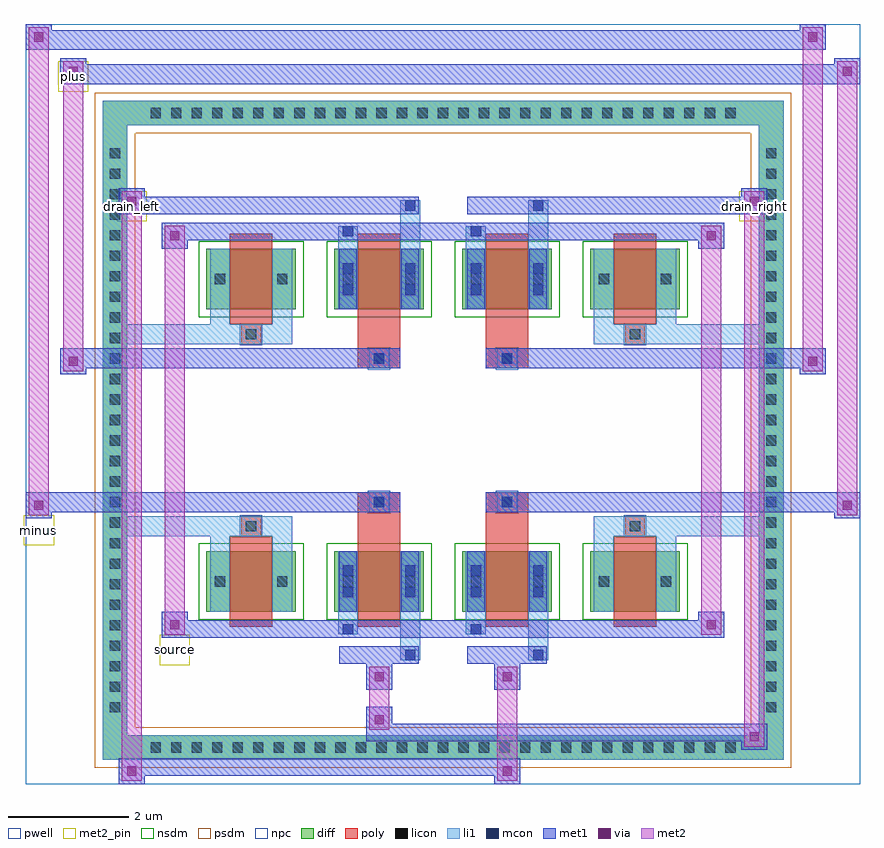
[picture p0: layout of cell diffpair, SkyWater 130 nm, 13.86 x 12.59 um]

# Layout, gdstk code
import gdstk
lib = gdstk.Library(unit=1e-6, precision=5e-09)
def R(c, l, rs):  # rectangles x0, y0, x1, y1
    for r in rs: c.add(gdstk.rectangle(r[:2], r[2:], *l))
def A(c, l, x, y, w, h, nx, ny, dx, dy):  # array of equal rectangles
    R(c, l, [(x+i*dx, y+j*dy, x+i*dx+w, y+j*dy+h) for i in range(nx) for j in range(ny)])
def P(c, l, *ps):  # polygons
    for p in ps: c.add(gdstk.Polygon(p, *l))
pwell = (64, 44)
diff = (65, 20)
poly = (66, 20)
licon = (66, 44)
li1 = (67, 20)
mcon = (67, 44)
met1 = (68, 20)
via = (68, 44)
met2_pin = (69, 16)
met2 = (69, 20)
nsdm = (93, 44)
psdm = (94, 20)
npc = (95, 20)

diffpair = lib.new_cell('diffpair')
R(diffpair, pwell, [(-6.91,-5.86,6.91,6.73), (-4.23,-4.05,-0.01,-0.825), (0.01,-4.05,4.23,-0.825), (-4.23,0.825,-0.01,4.05), (0.01,0.825,4.23,4.05)])
A(diffpair, diff, -4.965, -5.46, 0.41, 0.41, 29, 2, 0.34, 10.51)
A(diffpair, diff, -5.64, -4.795, 0.41, 0.41, 1, 28, 0, 0.34)
A(diffpair, diff, 5.23, -4.795, 0.41, 0.41, 1, 28, 0, 0.34)
A(diffpair, diff, -3.92, -3.005, 1.48, 1, 4, 2, 2.12, 5.01)
R(diffpair, diff, [(-4.965,-5.46,4.965,-5.05), (-5.64,-4.795,-5.23,4.795), (5.23,-4.795,5.64,4.795), (-4.965,5.05,4.965,5.46)])
P(diffpair, diff, [(5.64,5.46),(-5.64,5.46),(-5.64,-5.05),(-5.23,-5.05),(-5.23,5.05),(5.23,5.05),(5.23,-5.05),(-5.23,-5.05),(-5.64,-5.05),(-5.64,-5.46),(5.64,-5.46)])
A(diffpair, poly, -3.53, -3.255, 0.7, 1.5, 4, 2, 2.12, 5.01)
R(diffpair, poly, [(-3.345,-1.755,-3.015,-1.425), (-3.345,-1.755,-3.015,-1.425), (-1.41,-1.755,-0.71,-1.355), (0.71,-1.755,1.41,-1.355), (3.015,-1.755,3.345,-1.425), (3.015,-1.755,3.345,-1.425), (-1.41,-1.355,-0.71,-1.025), (-1.225,-1.355,-0.895,-1.025), (0.71,-1.355,1.41,-1.025), (0.895,-1.355,1.225,-1.025), (-1.41,1.025,-0.71,1.355), (-1.225,1.025,-0.895,1.355), (0.71,1.025,1.41,1.355), (0.895,1.025,1.225,1.355), (-1.41,1.355,-0.71,1.755), (0.71,1.355,1.41,1.755), (-3.345,1.425,-3.015,1.755), (-3.345,1.425,-3.015,1.755), (3.015,1.425,3.345,1.755), (3.015,1.425,3.345,1.755)])
A(diffpair, licon, -4.845, -5.34, 0.17, 0.17, 29, 2, 0.34, 10.51)
A(diffpair, licon, -5.52, -4.675, 0.17, 0.17, 1, 28, 0, 0.34)
A(diffpair, licon, 5.35, -4.675, 0.17, 0.17, 1, 28, 0, 0.34)
R(diffpair, licon, [(-3.78,-2.59,-3.61,-2.42), (-2.75,-2.59,-2.58,-2.42), (-1.66,-2.59,-1.49,-2.42), (-0.63,-2.59,-0.46,-2.42), (0.46,-2.59,0.63,-2.42), (1.49,-2.59,1.66,-2.42), (2.58,-2.59,2.75,-2.42), (3.61,-2.59,3.78,-2.42), (-3.265,-1.675,-3.095,-1.505), (3.095,-1.675,3.265,-1.505), (-1.145,-1.275,-0.975,-1.105), (0.975,-1.275,1.145,-1.105), (-1.145,1.105,-0.975,1.275), (0.975,1.105,1.145,1.275), (-3.265,1.505,-3.095,1.675), (3.095,1.505,3.265,1.675), (-3.78,2.42,-3.61,2.59), (-2.75,2.42,-2.58,2.59), (-1.66,2.42,-1.49,2.59), (-0.63,2.42,-0.46,2.59), (0.46,2.42,0.63,2.59), (1.49,2.42,1.66,2.59), (2.58,2.42,2.75,2.59), (3.61,2.42,3.78,2.59)])
A(diffpair, li1, -4.925, -5.42, 0.33, 0.33, 29, 2, 0.34, 10.51)
A(diffpair, li1, -5.6, -4.755, 0.33, 0.33, 1, 28, 0, 0.34)
A(diffpair, li1, 5.27, -4.755, 0.33, 0.33, 1, 28, 0, 0.34)
R(diffpair, li1, [(-5.64,-5.46,-5.23,-5.05), (-5.64,-5.46,-5.23,-5.05), (-5.23,-5.46,5.23,-5.05), (5.23,-5.46,5.64,-5.05), (5.23,-5.46,5.64,-5.05), (-5.64,-5.05,-5.23,5.05), (5.23,-5.05,5.64,5.05), (-0.71,-3.81,-0.38,-3.005), (-0.63,-3.81,-0.46,-3.64), (1.41,-3.81,1.74,-3.005), (1.49,-3.81,1.66,-3.64), (-1.74,-3.38,-1.41,-3.005), (-1.66,-3.38,-1.49,-3.21), (0.38,-3.38,0.71,-3.005), (0.46,-3.38,0.63,-3.21), (-3.86,-3.005,-3.53,-2.005), (-2.83,-3.005,-2.5,-2.005), (-1.74,-3.005,-1.41,-2.005), (-0.71,-3.005,-0.38,-2.005), (0.38,-3.005,0.71,-2.005), (1.41,-3.005,1.74,-2.005), (2.5,-3.005,2.83,-2.005), (3.53,-3.005,3.86,-2.005), (-1.66,-2.77,-1.49,-2.6), (-1.66,-2.77,-1.49,-2.24), (-0.63,-2.77,-0.46,-2.6), (-0.63,-2.77,-0.46,-2.24), (0.46,-2.77,0.63,-2.6), (0.46,-2.77,0.63,-2.24), (1.49,-2.77,1.66,-2.6), (1.49,-2.77,1.66,-2.24), (-3.86,-2.67,-3.53,-2.34), (-2.83,-2.67,-2.5,-2.34), (-1.74,-2.67,-1.41,-2.34), (-0.71,-2.67,-0.38,-2.34), (0.38,-2.67,0.71,-2.34), (1.41,-2.67,1.74,-2.34), (2.5,-2.67,2.83,-2.34), (3.53,-2.67,3.86,-2.34), (-1.66,-2.41,-1.49,-2.24), (-0.63,-2.41,-0.46,-2.24), (0.46,-2.41,0.63,-2.24), (1.49,-2.41,1.66,-2.24), (-3.86,-2.005,-3.53,-1.425), (-2.83,-2.005,-2.5,-1.425), (2.5,-2.005,2.83,-1.425), (3.53,-2.005,3.86,-1.425), (-5.64,-1.755,-3.345,-1.425), (-3.86,-1.755,-3.345,-1.425), (-3.345,-1.755,-3.015,-1.425), (-3.015,-1.755,-2.5,-1.425), (2.5,-1.755,3.015,-1.425), (3.015,-1.755,3.345,-1.425), (3.015,-1.755,5.64,-1.425), (3.345,-1.755,3.86,-1.425), (-1.225,-1.355,-0.895,-1.025), (0.895,-1.355,1.225,-1.025), (-1.225,1.025,-0.895,1.355), (0.895,1.025,1.225,1.355), (-5.64,1.425,-3.345,1.755), (-3.86,1.425,-3.345,1.755), (-3.86,1.425,-3.53,2.005), (-3.345,1.425,-3.015,1.755), (-3.015,1.425,-2.5,1.755), (-2.83,1.425,-2.5,2.005), (2.5,1.425,3.015,1.755), (2.5,1.425,2.83,2.005), (3.015,1.425,3.345,1.755), (3.015,1.425,5.64,1.755), (3.345,1.425,3.86,1.755), (3.53,1.425,3.86,2.005), (-3.86,2.005,-3.53,3.005), (-2.83,2.005,-2.5,3.005), (-1.74,2.005,-1.41,3.005), (-0.71,2.005,-0.38,3.005), (0.38,2.005,0.71,3.005), (1.41,2.005,1.74,3.005), (2.5,2.005,2.83,3.005), (3.53,2.005,3.86,3.005), (-1.66,2.24,-1.49,2.41), (-1.66,2.24,-1.49,2.77), (-0.63,2.24,-0.46,2.41), (-0.63,2.24,-0.46,2.77), (0.46,2.24,0.63,2.41), (0.46,2.24,0.63,2.77), (1.49,2.24,1.66,2.41), (1.49,2.24,1.66,2.77), (-3.86,2.34,-3.53,2.67), (-2.83,2.34,-2.5,2.67), (-1.74,2.34,-1.41,2.67), (-0.71,2.34,-0.38,2.67), (0.38,2.34,0.71,2.67), (1.41,2.34,1.74,2.67), (2.5,2.34,2.83,2.67), (3.53,2.34,3.86,2.67), (-1.66,2.6,-1.49,2.77), (-0.63,2.6,-0.46,2.77), (0.46,2.6,0.63,2.77), (1.49,2.6,1.66,2.77), (-1.74,3.005,-1.41,3.38), (-0.71,3.005,-0.38,3.81), (0.38,3.005,0.71,3.38), (1.41,3.005,1.74,3.81), (-1.66,3.21,-1.49,3.38), (0.46,3.21,0.63,3.38), (-0.63,3.64,-0.46,3.81), (1.49,3.64,1.66,3.81), (-5.64,5.05,-5.23,5.46), (-5.64,5.05,-5.23,5.46), (-5.23,5.05,5.23,5.46), (5.23,5.05,5.64,5.46), (5.23,5.05,5.64,5.46)])
R(diffpair, mcon, [(-0.63,-3.81,-0.46,-3.64), (1.49,-3.81,1.66,-3.64), (-1.66,-3.38,-1.49,-3.21), (0.46,-3.38,0.63,-3.21), (-1.66,-2.77,-1.49,-2.6), (-0.63,-2.77,-0.46,-2.6), (0.46,-2.77,0.63,-2.6), (1.49,-2.77,1.66,-2.6), (-1.66,-2.41,-1.49,-2.24), (-0.63,-2.41,-0.46,-2.24), (0.46,-2.41,0.63,-2.24), (1.49,-2.41,1.66,-2.24), (-1.145,-1.275,-0.975,-1.105), (0.975,-1.275,1.145,-1.105), (-1.145,1.105,-0.975,1.275), (0.975,1.105,1.145,1.275), (-1.66,2.24,-1.49,2.41), (-0.63,2.24,-0.46,2.41), (0.46,2.24,0.63,2.41), (1.49,2.24,1.66,2.41), (-1.66,2.6,-1.49,2.77), (-0.63,2.6,-0.46,2.77), (0.46,2.6,0.63,2.77), (1.49,2.6,1.66,2.77), (-1.66,3.21,-1.49,3.38), (0.46,3.21,0.63,3.38), (-0.63,3.64,-0.46,3.81), (1.49,3.64,1.66,3.81)])
R(diffpair, met1, [(-5.37,-5.86,-4.94,-5.43), (0.845,-5.86,1.275,-5.43), (-5.37,-5.72,1.275,-5.43), (4.94,-5.29,5.37,-4.86), (-1.275,-5.15,5.37,-4.86), (-1.275,-5.01,-0.845,-4.58), (-1.275,-4.3,-0.845,-3.87), (0.845,-4.3,1.275,-3.87), (-1.72,-3.87,-0.4,-3.58), (-0.69,-3.87,-0.4,-3.58), (0.4,-3.87,1.72,-3.58), (1.43,-3.87,1.72,-3.58), (-4.66,-3.44,-4.23,-3.01), (-4.66,-3.44,-1.72,-3.15), (-1.72,-3.44,-1.43,-3.15), (-1.72,-3.44,-0.4,-3.15), (-0.4,-3.44,0.4,-3.15), (0.4,-3.44,0.69,-3.15), (0.4,-3.44,1.72,-3.15), (1.72,-3.44,4.66,-3.15), (4.23,-3.44,4.66,-3.01), (-1.72,-3.005,-1.43,-2.005), (-0.69,-3.005,-0.4,-2.005), (0.4,-3.005,0.69,-2.005), (1.43,-3.005,1.72,-2.005), (-1.72,-2.83,-1.43,-2.54), (-0.69,-2.83,-0.4,-2.54), (0.4,-2.83,0.69,-2.54), (1.43,-2.83,1.72,-2.54), (-1.72,-2.47,-1.43,-2.18), (-0.69,-2.47,-0.4,-2.18), (0.4,-2.47,0.69,-2.18), (1.43,-2.47,1.72,-2.18), (-6.91,-1.455,-6.48,-1.025), (6.48,-1.455,6.91,-1.025), (-6.91,-1.355,-0.71,-1.025), (-1.41,-1.355,-0.71,-1.025), (0.71,-1.355,1.41,-1.025), (0.71,-1.355,6.91,-1.025), (-1.205,-1.335,-0.915,-1.045), (0.915,-1.335,1.205,-1.045), (-6.34,0.925,-5.91,1.355), (5.91,0.925,6.34,1.355), (-6.34,1.025,-1.41,1.355), (-1.41,1.025,-0.71,1.355), (0.71,1.025,1.41,1.355), (1.41,1.025,6.34,1.355), (-1.205,1.045,-0.915,1.335), (0.915,1.045,1.205,1.335), (-1.72,2.005,-1.43,3.005), (-0.69,2.005,-0.4,3.005), (0.4,2.005,0.69,3.005), (1.43,2.005,1.72,3.005), (-1.72,2.18,-1.43,2.47), (-0.69,2.18,-0.4,2.47), (0.4,2.18,0.69,2.47), (1.43,2.18,1.72,2.47), (-1.72,2.54,-1.43,2.83), (-0.69,2.54,-0.4,2.83), (0.4,2.54,0.69,2.83), (1.43,2.54,1.72,2.83), (-4.66,3.01,-4.23,3.44), (4.23,3.01,4.66,3.44), (-4.66,3.15,-1.72,3.44), (-1.72,3.15,-1.43,3.44), (-1.72,3.15,-0.4,3.44), (-0.4,3.15,0.4,3.44), (0.4,3.15,0.69,3.44), (0.4,3.15,1.72,3.44), (1.72,3.15,4.66,3.44), (-5.37,3.58,-4.94,4.01), (-5.37,3.58,-1.72,3.87), (-1.72,3.58,-0.4,3.87), (-0.69,3.58,-0.4,3.87), (0.4,3.58,1.72,3.87), (1.43,3.58,1.72,3.87), (1.72,3.58,5.37,3.87), (4.94,3.58,5.37,4.01), (-6.34,5.73,-5.91,6.16), (-6.34,5.73,-4.23,6.06), (-4.23,5.73,4.23,6.06), (4.23,5.73,6.91,6.06), (6.48,5.73,6.91,6.16), (-6.91,6.3,-6.48,6.73), (-6.91,6.3,-4.23,6.63), (-4.23,6.3,4.23,6.63), (4.23,6.3,6.34,6.63), (5.91,6.3,6.34,6.73)])
R(diffpair, via, [(-5.23,-5.72,-5.08,-5.57), (0.985,-5.72,1.135,-5.57), (5.08,-5.15,5.23,-5), (-1.135,-4.87,-0.985,-4.72), (-1.135,-4.16,-0.985,-4.01), (0.985,-4.16,1.135,-4.01), (-4.52,-3.3,-4.37,-3.15), (4.37,-3.3,4.52,-3.15), (-6.77,-1.315,-6.62,-1.165), (6.62,-1.315,6.77,-1.165), (-6.2,1.065,-6.05,1.215), (6.05,1.065,6.2,1.215), (-4.52,3.15,-4.37,3.3), (4.37,3.15,4.52,3.3), (-5.23,3.72,-5.08,3.87), (5.08,3.72,5.23,3.87), (-6.2,5.87,-6.05,6.02), (6.62,5.87,6.77,6.02), (-6.77,6.44,-6.62,6.59), (6.05,6.44,6.2,6.59)])
R(diffpair, met2_pin, [(-4.695,-3.89,-4.195,-3.39), (-6.945,-1.905,-6.445,-1.405), (-5.405,3.46,-4.905,3.96), (4.905,3.46,5.405,3.96), (-6.375,5.61,-5.875,6.11)])
R(diffpair, met2, [(-5.32,-5.81,-4.99,-5.48), (-5.32,-5.81,-4.99,3.96), (0.895,-5.81,1.225,-5.48), (0.895,-5.48,1.225,-4.25), (4.99,-5.24,5.32,-4.91), (4.99,-5.24,5.32,3.96), (-1.225,-4.96,-0.895,-4.63), (-1.225,-4.63,-0.895,-4.25), (-1.225,-4.25,-0.895,-3.92), (0.895,-4.25,1.225,-3.92), (-4.61,-3.39,-4.28,-3.06), (-4.61,-3.39,-4.28,3.39), (4.28,-3.39,4.61,-3.06), (4.28,-3.39,4.61,3.39), (-6.86,-1.405,-6.53,-1.075), (-6.86,-1.405,-6.53,6.68), (6.53,-1.405,6.86,-1.075), (6.53,-1.405,6.86,6.11), (-6.29,0.975,-5.96,1.305), (-6.29,0.975,-5.96,6.11), (5.96,0.975,6.29,1.305), (5.96,0.975,6.29,6.68), (-4.61,3.06,-4.28,3.39), (4.28,3.06,4.61,3.39), (-5.32,3.63,-4.99,3.96), (4.99,3.63,5.32,3.96), (-6.29,5.78,-5.96,6.11), (6.53,5.78,6.86,6.11), (-6.86,6.35,-6.53,6.68), (5.96,6.35,6.29,6.68)])
P(diffpair, met2, [(6.86,-1.405),(6.86,-1.405),(6.86,-1.075),(6.86,-1.075)],
  [(6.86,5.78),(6.86,5.78),(6.86,6.11),(6.86,6.11)],
  [(-6.53,-1.405),(-6.53,-1.405),(-6.53,-1.075),(-6.53,-1.075)],
  [(-6.53,6.35),(-6.53,6.35),(-6.53,6.68),(-6.53,6.68)],
  [(6.29,0.975),(6.29,0.975),(6.29,1.305),(6.29,1.305)],
  [(6.29,6.35),(6.29,6.35),(6.29,6.68),(6.29,6.68)],
  [(-5.96,0.975),(-5.96,0.975),(-5.96,1.305),(-5.96,1.305)],
  [(-5.96,5.78),(-5.96,5.78),(-5.96,6.11),(-5.96,6.11)],
  [(-4.99,-5.81),(-4.99,-5.81),(-4.99,-5.48),(-4.99,-5.48)],
  [(-4.99,3.63),(-4.99,3.63),(-4.99,3.96),(-4.99,3.96)],
  [(5.32,-5.24),(5.32,-5.24),(5.32,-4.91),(5.32,-4.91)],
  [(5.32,3.63),(5.32,3.63),(5.32,3.96),(5.32,3.96)],
  [(-4.28,-3.39),(-4.28,-3.39),(-4.28,-3.06),(-4.28,-3.06)],
  [(-4.28,3.06),(-4.28,3.06),(-4.28,3.39),(-4.28,3.39)],
  [(4.61,-3.39),(4.61,-3.39),(4.61,-3.06),(4.61,-3.06)],
  [(4.61,3.06),(4.61,3.06),(4.61,3.39),(4.61,3.39)])
A(diffpair, nsdm, -4.05, -3.135, 1.74, 1.26, 4, 2, 2.12, 5.01)
P(diffpair, psdm, [(5.77,5.59),(-5.77,5.59),(-5.77,-4.92),(-5.1,-4.92),(-5.1,4.92),(5.1,4.92),(5.1,-4.92),(-5.1,-4.92),(-5.77,-4.92),(-5.77,-5.59),(5.77,-5.59)])
R(diffpair, npc, [(-3.365,-1.775,-2.995,-1.405), (2.995,-1.775,3.365,-1.405), (-1.245,-1.375,-0.875,-1.005), (0.875,-1.375,1.245,-1.005), (-1.245,1.005,-0.875,1.375), (0.875,1.005,1.245,1.375), (-3.365,1.405,-2.995,1.775), (2.995,1.405,3.365,1.775)])
diffpair.add(gdstk.Label('minus', (-6.695,-1.655), layer=69, texttype=5))
diffpair.add(gdstk.Label('drain_right', (5.155,3.71), layer=69, texttype=5))
diffpair.add(gdstk.Label('drain_left', (-5.155,3.71), layer=69, texttype=5))
diffpair.add(gdstk.Label('source', (-4.445,-3.64), layer=69, texttype=5))
diffpair.add(gdstk.Label('plus', (-6.125,5.86), layer=69, texttype=5))

lib.write_gds('diffpair.gds')
